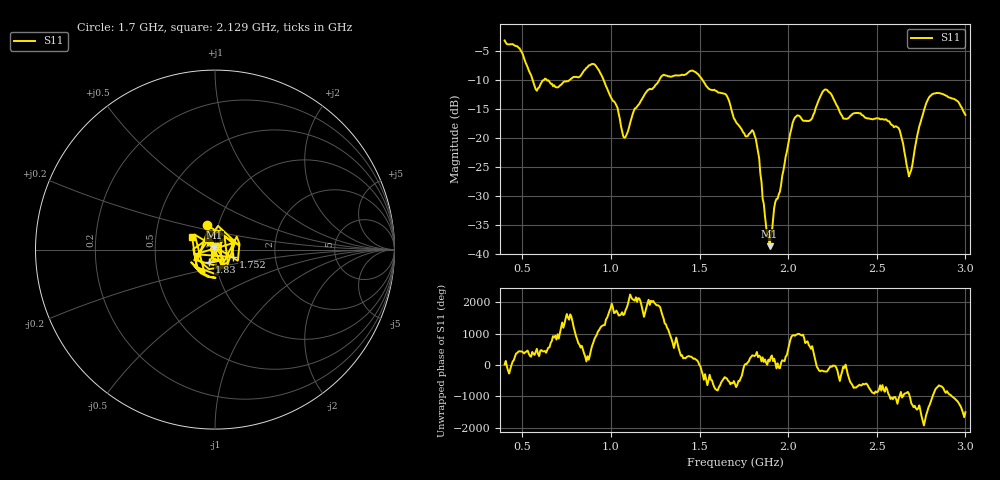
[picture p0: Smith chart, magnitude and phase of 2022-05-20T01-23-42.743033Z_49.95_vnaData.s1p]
!Created with skrf (http://scikit-rf.org).
# Hz S RI R 50.0
!freq ReS11 ImS11
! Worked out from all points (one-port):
!   401 points, 400 MHz to 3 GHz, reference 50 ohm
!   lowest |S11| = -38.7 dB at 1.895 GHz (marker M1), VSWR 1.02, Z = 49.6 + j1.09 ohm
!   |S11| at or under -10 dB: 639.3 MHz to 764.6 MHz (125.3 MHz wide, 17.9 % of centre); 959.5 MHz to 1.272 GHz (312.6 MHz wide, 28 % of centre); 1.518 GHz to end of sweep (the widest 3 of 4)
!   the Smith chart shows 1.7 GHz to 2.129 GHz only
!   S11 on the Smith chart (normalised r, x): 1.7 GHz: 0.88, +0.25; 1.752 GHz: 1.22, -0.10; 1.83 GHz: 0.93, -0.13; 2.129 GHz: 0.77, +0.11
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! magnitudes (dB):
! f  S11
! 400 MHz  -3.1
! 484.5 MHz  -4.5
! 582 MHz  -11.8
! 725 MHz  -10.6
! 907 MHz  -7.2
! 1.05 GHz  -16.6
! 1.083 GHz  -19.8
! 1.206 GHz  -11.8
! 1.375 GHz  -9.1
! 1.466 GHz  -8.4
! 1.641 GHz  -12.3
! 1.7 GHz  -16.9
! 1.752 GHz  -19.2
! 1.804 GHz  -18.9
! 1.83 GHz  -22.5
! 1.869 GHz  -33.5
! 1.895 GHz  -38.7
! 2.025 GHz  -17.4
! 2.129 GHz  -16.8
! 2.207 GHz  -11.6
! 2.35 GHz  -16.2
! 2.616 GHz  -18.1
! 2.675 GHz  -25.6
! 2.695 GHz  -25.5
! 2.747 GHz  -17.3
! 2.805 GHz  -12.7
! 2.942 GHz  -13.3
! 3 GHz  -16.0
